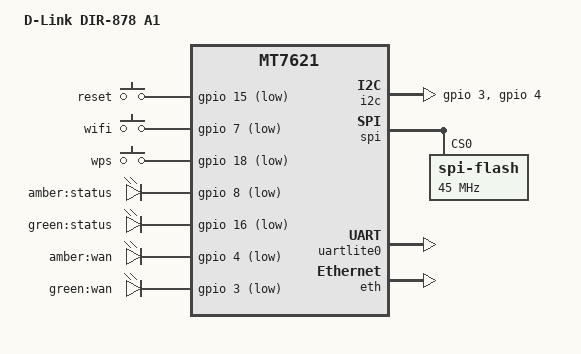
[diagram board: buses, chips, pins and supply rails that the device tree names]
// SPDX-License-Identifier: GPL-2.0+

/dts-v1/;
#include "mt7621.dtsi"

#include <dt-bindings/gpio/gpio.h>
#include <dt-bindings/input/input.h>

/ {
	model = "D-Link DIR-878 A1";
	compatible = "dlink,dir-878-a1", "mediatek,mt7621-soc";

	aliases {
		spi0 = &spi;
	};

	chosen {
		stdout-path = &uartlite0;
	};

	config {
		reset-button = "reset";
		wps-button = "wps";
		status1-led = "green:status";
		status2-led = "amber:status";
	};

	keys {
		compatible = "gpio-keys";

		reset {
			label = "reset";
			gpios = <&gpio 15 GPIO_ACTIVE_LOW>;
			linux,code = <KEY_RESTART>;
		};

		wifi {
			label = "wifi";
			gpios = <&gpio 7 GPIO_ACTIVE_LOW>;
			linux,code = <KEY_RFKILL>;
		};

		wps {
			label = "wps";
			gpios = <&gpio 18 GPIO_ACTIVE_LOW>;
			linux,code = <KEY_WPS_BUTTON>;
		};
	};

	leds {
		compatible = "gpio-leds";

		status_amber {
			label = "amber:status";
			gpios = <&gpio 8 GPIO_ACTIVE_LOW>;
			default-state = "off";
		};

		status_green {
			label = "green:status";
			gpios = <&gpio 16 GPIO_ACTIVE_LOW>;
			default-state = "on";
		};

		wan_amber {
			label = "amber:wan";
			gpios = <&gpio 4 GPIO_ACTIVE_LOW>;
			default-state = "off";
		};

		wan_green {
			label = "green:wan";
			gpios = <&gpio 3 GPIO_ACTIVE_LOW>;
			default-state = "off";
		};
	};
};

&pinctrl {
	state_default: pinmux_conf {
		spi {
			groups = "spi";
			function = "spi";
		};

		sdhci {
			groups = "sdhci";
			function = "gpio";
		};

		jtag {
			groups = "jtag";
			function = "gpio";
		};

		wdt {
			groups = "wdt";
			function = "gpio";
		};
	};
};

&gpio {
	status = "okay";
};

&i2c {
	gpios = <&gpio 3 1>, /* PIN3 as SDA */
		<&gpio 4 1>; /* PIN4 as CLK */
};

&spi {
	status = "okay";

	spi-max-frequency = <45000000>;

	spi-flash@0 {
		#address-cells = <1>;
		#size-cells = <1>;
		compatible = "spi-flash";
		spi-max-frequency = <45000000>;
		reg = <0>;
	};
};

&uartlite0 {
	status = "okay";
};

&eth {
	status = "okay";
};
